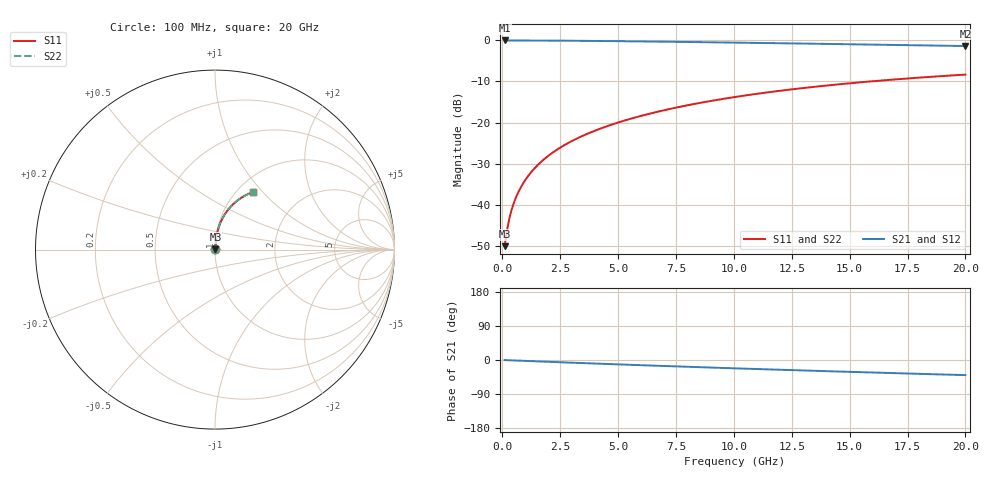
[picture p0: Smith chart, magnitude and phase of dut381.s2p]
! Touchstone file exported from HFSS 2024.1.0
!  File:  C:/UserFiles/LocalFiles/RDL_TSV_Batchsim/temp_RDL_top_381_1779609405.aedt
!  Generated:  03:59:12 PM May 24, 2026
!  Design:  RDL_top
!  Project:  temp_RDL_top_381_1779609405
!  Setup:  Setup1
!  Solution:  Sweep
! Variables:
!  dtsv = 10.80580581um
!  hbump = 3um
!  htsv = 95.04um
!  ldown = 100um
!  lrdl = 543.48um
!  p = 40
!  p1 = 53.27um
!  rhole = 1um
!  t = 450um
!  tdown = 3.915915916um
!  trdl = 4.5um
!  wdown = 15.38538539um
!  wrdl = 19.91um
# GHz S MA R 50.000000
! Terminal data exported
! Port[1] = Box2_T1
! Port[2] = Box2_T2
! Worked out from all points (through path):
!   200 points, 100 MHz to 20 GHz, reference 50 ohm
!   highest |S21| = -0.02 dB at 100 MHz (marker M1); lowest = -1.4 dB at 20 GHz (marker M2)
!   group delay of S21, straight-line fit = 5.5 ps
!   lowest |S11| = -50.1 dB at 100 MHz (marker M3), VSWR 1.01, Z = 50.2 + j0.212 ohm
!   |S11| at or under -10 dB: start of sweep to 15.89 GHz
!   |S22| runs from -50.1 to -8.3 dB; largest |S21 - S12| = 3.3e-15
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0.1  0.003122 42.6  0.9977 -0.2  0.9977 -0.2  0.003122 42.6
! Gamma 0 0 0 0
! Port Impedance 50 0 50 0
0.2  0.004827 60.2  0.9976 -0.5  0.9976 -0.5  0.004827 60.2
0.3  0.006707 67.9  0.9974 -0.7  0.9974 -0.7  0.006706 67.9
0.4  0.008613 72.0  0.9973 -1.0  0.9973 -1.0  0.008613 72.0
0.5  0.01052 74.7  0.9971 -1.2  0.9971 -1.2  0.01052 74.7
0.6  0.01243 76.6  0.997 -1.5  0.997 -1.5  0.01243 76.6
0.8  0.01625 79.1  0.9966 -1.9  0.9966 -1.9  0.01625 79.1
1.1  0.02202 81.2  0.9961 -2.6  0.9961 -2.6  0.02202 81.2
1.5  0.02978 82.6  0.9952 -3.6  0.9952 -3.6  0.02978 82.7
1.8  0.03564 83.2  0.9943 -4.3  0.9943 -4.3  0.03564 83.2
2.1  0.04154 83.5  0.9933 -5.0  0.9933 -5.0  0.04154 83.6
2.7  0.05342 83.7  0.991 -6.4  0.991 -6.4  0.05342 83.7
3.5  0.06943 83.5  0.9871 -8.2  0.9871 -8.2  0.06944 83.5
4.2  0.0836 83.0  0.9831 -9.8  0.9831 -9.8  0.08361 83.0
5  0.09996 82.1  0.9781 -11.6  0.9781 -11.6  0.09997 82.2
5.9  0.1185 81.0  0.9719 -13.5  0.9719 -13.5  0.1185 81.0
6.8  0.1372 79.8  0.9654 -15.4  0.9654 -15.4  0.1372 79.8
8.4  0.1705 77.3  0.9529 -18.7  0.9529 -18.7  0.1705 77.3
10.1  0.2055 74.3  0.9391 -22.1  0.9391 -22.1  0.2055 74.3
13.4  0.2706 68.4  0.9111 -28.4  0.9111 -28.4  0.2707 68.4
16.7  0.3302 62.4  0.8823 -34.3  0.8823 -34.3  0.3303 62.4
20  0.3831 56.7  0.8534 -39.9  0.8534 -39.9  0.3832 56.7
